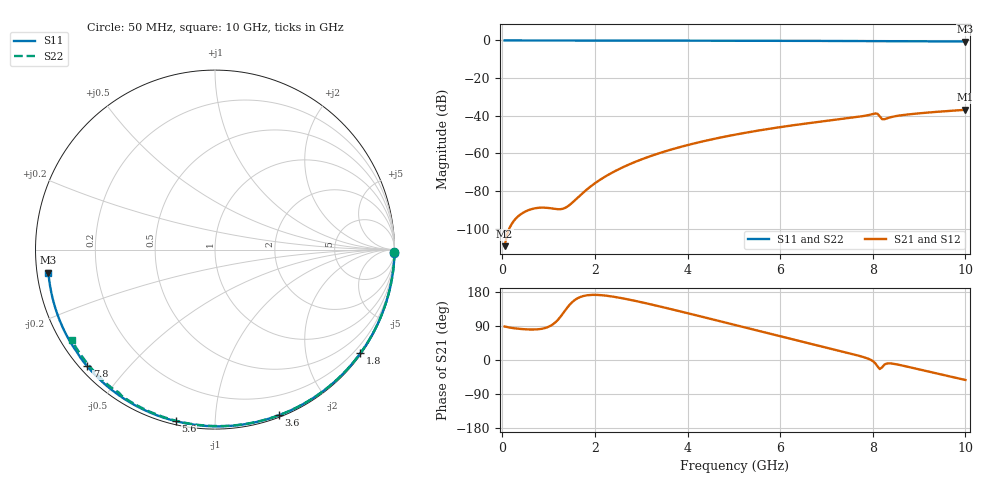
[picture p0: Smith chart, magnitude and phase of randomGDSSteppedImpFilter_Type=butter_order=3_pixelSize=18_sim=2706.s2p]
! freq	dB(S11)	phase(S11)	dB(S12)	phase(S12)
!  dB(S21)	phase(S21)	dB(S22)	phase(S22)
!S-par simulation data
#  GHz  S  DB  R 50
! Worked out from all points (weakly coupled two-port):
!   200 points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, 50 MHz to 10 GHz, reference 50 ohm
!   highest |S21| = -36.86 dB at 10 GHz (marker M1); lowest = -109.3 dB at 50 MHz (marker M2)
!   lowest |S11| = -0.6 dB at 10 GHz (marker M3), VSWR 30.78, Z = 1.63 - j3.43 ohm
!   |S11| at or under -10 dB: nowhere
!   |S22| runs from -0.5 to 0.0 dB; largest |S21 - S12| = 0
!   S11 on the Smith chart (normalised r, x): 50 MHz: open; 1.8 GHz: 0.03, -3.12; 3.6 GHz: 0.02, -1.46; 5.6 GHz: 0.02, -0.80; 7.8 GHz: 0.02, -0.39; 10 GHz: 0.03, -0.07
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0.05  -0.00 -1.0  -109.30 88.5  -109.30 88.5  -0.00 -0.9
0.85  -0.02 -17.0  -88.82 82.3  -88.82 82.3  -0.02 -14.5
1.75  -0.04 -34.6  -80.76 168.8  -80.76 168.8  -0.04 -29.6
1.8  -0.05 -35.5  -79.71 170.1  -79.71 170.1  -0.04 -30.4
2.1  -0.05 -41.3  -74.21 171.4  -74.21 171.4  -0.04 -35.4
2.5  -0.06 -48.8  -68.60 165.0  -68.60 165.0  -0.05 -41.9
2.9  -0.07 -56.2  -64.21 155.3  -64.21 155.3  -0.06 -48.3
3.4  -0.09 -65.3  -59.82 141.3  -59.82 141.3  -0.07 -56.2
3.6  -0.09 -68.9  -58.30 135.5  -58.30 135.5  -0.08 -59.3
4.3  -0.11 -81.2  -53.79 114.5  -53.79 114.5  -0.10 -70.0
5.05  -0.14 -93.9  -49.94 91.7  -49.94 91.7  -0.12 -81.1
5.6  -0.17 -102.9  -47.58 75.0  -47.58 75.0  -0.15 -89.0
6.7  -0.23 -120.4  -43.68 41.7  -43.68 41.7  -0.20 -104.3
7.8  -0.32 -137.6  -40.15 7.7  -40.15 7.7  -0.27 -119.0
8.05  -0.34 -141.5  -38.81 -8.1  -38.81 -8.1  -0.30 -122.5
8.1  -0.36 -142.3  -38.91 -16.4  -38.91 -16.4  -0.32 -123.2
8.2  -0.38 -143.7  -41.80 -19.4  -41.80 -19.4  -0.36 -124.2
8.25  -0.38 -144.5  -41.88 -12.3  -41.88 -12.3  -0.35 -124.8
8.35  -0.38 -146.0  -41.05 -8.8  -41.05 -8.8  -0.34 -126.1
8.55  -0.39 -149.1  -39.99 -12.3  -39.99 -12.3  -0.35 -128.7
8.85  -0.43 -153.8  -39.08 -20.5  -39.08 -20.5  -0.38 -132.7
10  -0.56 -172.1  -36.86 -52.7  -36.86 -52.7  -0.50 -147.6
